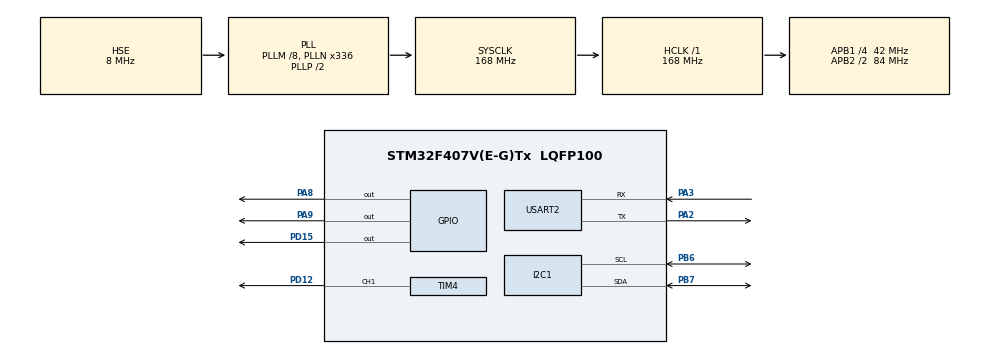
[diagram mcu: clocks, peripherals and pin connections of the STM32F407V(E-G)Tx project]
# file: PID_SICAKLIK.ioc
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Mcu.Family=STM32F4
Mcu.Name=STM32F407V(E-G)Tx
Mcu.Package=LQFP100
NVIC.PriorityGroup=NVIC_PRIORITYGROUP_0
NVIC.TIM2_IRQn=true\:0\:0\:false\:false\:true\:true\:true\:true
NVIC.USART2_IRQn=true\:0\:0\:false\:false\:true\:true\:true\:true
PA2.Mode=Asynchronous
PA2.Signal=USART2_TX
PA3.Mode=Asynchronous
PA3.Signal=USART2_RX
PA8.Signal=GPIO_Output
PA9.Signal=GPIO_Output
PB6.Mode=I2C
PB6.Signal=I2C1_SCL
PB7.Mode=I2C
PB7.Signal=I2C1_SDA
PD12.Signal=S_TIM4_CH1
PD15.Signal=GPIO_Output
PH0-OSC_IN.Mode=HSE-External-Oscillator
PH0-OSC_IN.Signal=RCC_OSC_IN
PH1-OSC_OUT.Mode=HSE-External-Oscillator
PH1-OSC_OUT.Signal=RCC_OSC_OUT
ProjectManager.HeapSize=0x200
ProjectManager.StackSize=0x400
ProjectManager.TargetToolchain=STM32CubeIDE
RCC.48MHZClocksFreq_Value=48000000
RCC.AHBFreq_Value=168000000
RCC.APB1CLKDivider=RCC_HCLK_DIV4
RCC.APB1Freq_Value=42000000
RCC.APB1TimFreq_Value=84000000
RCC.APB2CLKDivider=RCC_HCLK_DIV2
RCC.APB2Freq_Value=84000000
RCC.APB2TimFreq_Value=168000000
RCC.CortexFreq_Value=168000000
RCC.HCLKFreq_Value=168000000
RCC.HSE_VALUE=8000000
RCC.HSI_VALUE=16000000
RCC.PLLM=8
RCC.PLLN=336
RCC.PLLQ=7
RCC.PLLSourceVirtual=RCC_PLLSOURCE_HSE
RCC.SYSCLKFreq_VALUE=168000000
RCC.SYSCLKSource=RCC_SYSCLKSOURCE_PLLCLK
RCC.VCOOutputFreq_Value=336000000
SH.S_TIM4_CH1.0=TIM4_CH1,PWM Generation1 CH1
TIM2.Period=3999
TIM2.Prescaler=41999
TIM4.Channel-PWM\ Generation1\ CH1=TIM_CHANNEL_1
TIM4.Period=999
TIM4.Prescaler=83
USART2.VirtualMode=VM_ASYNC
VP_TIM2_VS_ClockSourceINT.Mode=Internal
VP_TIM4_VS_ClockSourceINT.Mode=Internal
board=STM32F407G-DISC1

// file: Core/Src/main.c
/* USER CODE BEGIN Header */
/**
  ******************************************************************************
  * @file           : main.c
  * @brief          : Main program body
  ******************************************************************************
  * @attention
  *
  * Copyright (c) 2024 STMicroelectronics.
  * All rights reserved.
  *
  * This software is licensed under terms that can be found in the LICENSE file
  * in the root directory of this software component.
  * If no LICENSE file comes with this software, it is provided AS-IS.
  *
  ******************************************************************************
  */
/* USER CODE END Header */
#include "main.h"

/* USER CODE BEGIN Includes */
#include "motor_driver.h"

/* USER CODE END Includes */

/* USER CODE BEGIN PD */
#define KP 10
#define KI 1
#define KD 1
#define TS 0.01

/* USER CODE END PD */

I2C_HandleTypeDef hi2c1;

TIM_HandleTypeDef htim2;
TIM_HandleTypeDef htim4;

UART_HandleTypeDef huart2;

/* USER CODE BEGIN PV */
motor_driver_t driver;
char dizi[BUFFERSIZE];
uint8_t u2rx=0;

/* USER CODE END PV */

void SystemClock_Config(void);
static void MX_GPIO_Init(void);
static void MX_I2C1_Init(void);
static void MX_TIM2_Init(void);
static void MX_TIM4_Init(void);
static void MX_USART2_UART_Init(void);

int main(void)
{

  /* MCU Configuration--------------------------------------------------------*/

  /* Reset of all peripherals, Initializes the Flash interface and the Systick. */
  HAL_Init();

  /* Configure the system clock */
  SystemClock_Config();

  /* Initialize all configured peripherals */
  MX_GPIO_Init();
  MX_I2C1_Init();
  MX_TIM2_Init();
  MX_TIM4_Init();
  MX_USART2_UART_Init();
  /* USER CODE BEGIN 2 */
  lcd_init();
  comInit(&driver.com);
  pidInit(&driver.pid, KP, KI, KD, TS, 100, 0, 100, 0, 100, 0, 100, 0,15);
  HAL_UART_Receive_IT(&huart2, &u2rx, 1);

  BMP180_Start(&driver.bmp_180_cal);
  HAL_GPIO_WritePin(GPIOA, GPIO_PIN_8, 0);
  HAL_GPIO_WritePin(GPIOA, GPIO_PIN_9, 1);

  HAL_TIM_PWM_Start(&htim4, TIM_CHANNEL_1);
  HAL_TIM_Base_Start_IT(&htim2);

  /* USER CODE END 2 */

  /* Infinite loop */
  while (1)
  {

    /* USER CODE BEGIN 3 */
	  read_BMP180(&driver.bmp_180_cal, &driver.bmp_180, 0);
  }
  /* USER CODE END 3 */
}

void SystemClock_Config(void)
{
  RCC_OscInitTypeDef RCC_OscInitStruct = {0};
  RCC_ClkInitTypeDef RCC_ClkInitStruct = {0};

  /** Configure the main internal regulator output voltage
  */
  __HAL_RCC_PWR_CLK_ENABLE();
  __HAL_PWR_VOLTAGESCALING_CONFIG(PWR_REGULATOR_VOLTAGE_SCALE1);

  /** Initializes the RCC Oscillators according to the specified parameters
  * in the RCC_OscInitTypeDef structure.
  */
  RCC_OscInitStruct.OscillatorType = RCC_OSCILLATORTYPE_HSE;
  RCC_OscInitStruct.HSEState = RCC_HSE_ON;
  RCC_OscInitStruct.PLL.PLLState = RCC_PLL_ON;
  RCC_OscInitStruct.PLL.PLLSource = RCC_PLLSOURCE_HSE;
  RCC_OscInitStruct.PLL.PLLM = 8;
  RCC_OscInitStruct.PLL.PLLN = 336;
  RCC_OscInitStruct.PLL.PLLP = RCC_PLLP_DIV2;
  RCC_OscInitStruct.PLL.PLLQ = 7;
  if (HAL_RCC_OscConfig(&RCC_OscInitStruct) != HAL_OK)
  {
    Error_Handler();
  }

  /** Initializes the CPU, AHB and APB buses clocks
  */
  RCC_ClkInitStruct.ClockType = RCC_CLOCKTYPE_HCLK|RCC_CLOCKTYPE_SYSCLK
                              |RCC_CLOCKTYPE_PCLK1|RCC_CLOCKTYPE_PCLK2;
  RCC_ClkInitStruct.SYSCLKSource = RCC_SYSCLKSOURCE_PLLCLK;
  RCC_ClkInitStruct.AHBCLKDivider = RCC_SYSCLK_DIV1;
  RCC_ClkInitStruct.APB1CLKDivider = RCC_HCLK_DIV4;
  RCC_ClkInitStruct.APB2CLKDivider = RCC_HCLK_DIV2;

  if (HAL_RCC_ClockConfig(&RCC_ClkInitStruct, FLASH_LATENCY_5) != HAL_OK)
  {
    Error_Handler();
  }
}

static void MX_I2C1_Init(void)
{

  hi2c1.Instance = I2C1;
  hi2c1.Init.ClockSpeed = 100000;
  hi2c1.Init.DutyCycle = I2C_DUTYCYCLE_2;
  hi2c1.Init.OwnAddress1 = 0;
  hi2c1.Init.AddressingMode = I2C_ADDRESSINGMODE_7BIT;
  hi2c1.Init.DualAddressMode = I2C_DUALADDRESS_DISABLE;
  hi2c1.Init.OwnAddress2 = 0;
  hi2c1.Init.GeneralCallMode = I2C_GENERALCALL_DISABLE;
  hi2c1.Init.NoStretchMode = I2C_NOSTRETCH_DISABLE;
  if (HAL_I2C_Init(&hi2c1) != HAL_OK)
  {
    Error_Handler();
  }

}

static void MX_TIM2_Init(void)
{

  TIM_ClockConfigTypeDef sClockSourceConfig = {0};
  TIM_MasterConfigTypeDef sMasterConfig = {0};

  htim2.Instance = TIM2;
  htim2.Init.Prescaler = 41999;
  htim2.Init.CounterMode = TIM_COUNTERMODE_UP;
  htim2.Init.Period = 3999;
  htim2.Init.ClockDivision = TIM_CLOCKDIVISION_DIV1;
  htim2.Init.AutoReloadPreload = TIM_AUTORELOAD_PRELOAD_DISABLE;
  if (HAL_TIM_Base_Init(&htim2) != HAL_OK)
  {
    Error_Handler();
  }
  sClockSourceConfig.ClockSource = TIM_CLOCKSOURCE_INTERNAL;
  if (HAL_TIM_ConfigClockSource(&htim2, &sClockSourceConfig) != HAL_OK)
  {
    Error_Handler();
  }
  sMasterConfig.MasterOutputTrigger = TIM_TRGO_RESET;
  sMasterConfig.MasterSlaveMode = TIM_MASTERSLAVEMODE_DISABLE;
  if (HAL_TIMEx_MasterConfigSynchronization(&htim2, &sMasterConfig) != HAL_OK)
  {
    Error_Handler();
  }

}

static void MX_TIM4_Init(void)
{

  TIM_ClockConfigTypeDef sClockSourceConfig = {0};
  TIM_MasterConfigTypeDef sMasterConfig = {0};
  TIM_OC_InitTypeDef sConfigOC = {0};

  htim4.Instance = TIM4;
  htim4.Init.Prescaler = 83;
  htim4.Init.CounterMode = TIM_COUNTERMODE_UP;
  htim4.Init.Period = 999;
  htim4.Init.ClockDivision = TIM_CLOCKDIVISION_DIV1;
  htim4.Init.AutoReloadPreload = TIM_AUTORELOAD_PRELOAD_DISABLE;
  if (HAL_TIM_Base_Init(&htim4) != HAL_OK)
  {
    Error_Handler();
  }
  sClockSourceConfig.ClockSource = TIM_CLOCKSOURCE_INTERNAL;
  if (HAL_TIM_ConfigClockSource(&htim4, &sClockSourceConfig) != HAL_OK)
  {
    Error_Handler();
  }
  if (HAL_TIM_PWM_Init(&htim4) != HAL_OK)
  {
    Error_Handler();
  }
  sMasterConfig.MasterOutputTrigger = TIM_TRGO_RESET;
  sMasterConfig.MasterSlaveMode = TIM_MASTERSLAVEMODE_DISABLE;
  if (HAL_TIMEx_MasterConfigSynchronization(&htim4, &sMasterConfig) != HAL_OK)
  {
    Error_Handler();
  }
  sConfigOC.OCMode = TIM_OCMODE_PWM1;
  sConfigOC.Pulse = 0;
  sConfigOC.OCPolarity = TIM_OCPOLARITY_HIGH;
  sConfigOC.OCFastMode = TIM_OCFAST_DISABLE;
  if (HAL_TIM_PWM_ConfigChannel(&htim4, &sConfigOC, TIM_CHANNEL_1) != HAL_OK)
  {
    Error_Handler();
  }
  HAL_TIM_MspPostInit(&htim4);

}

static void MX_USART2_UART_Init(void)
{

  huart2.Instance = USART2;
  huart2.Init.BaudRate = 115200;
  huart2.Init.WordLength = UART_WORDLENGTH_8B;
  huart2.Init.StopBits = UART_STOPBITS_1;
  huart2.Init.Parity = UART_PARITY_NONE;
  huart2.Init.Mode = UART_MODE_TX_RX;
  huart2.Init.HwFlowCtl = UART_HWCONTROL_NONE;
  huart2.Init.OverSampling = UART_OVERSAMPLING_16;
  if (HAL_UART_Init(&huart2) != HAL_OK)
  {
    Error_Handler();
  }

}

static void MX_GPIO_Init(void)
{
  GPIO_InitTypeDef GPIO_InitStruct = {0};

  /* GPIO Ports Clock Enable */
  __HAL_RCC_GPIOH_CLK_ENABLE();
  __HAL_RCC_GPIOA_CLK_ENABLE();
  __HAL_RCC_GPIOD_CLK_ENABLE();
  __HAL_RCC_GPIOB_CLK_ENABLE();

  /*Configure GPIO pin Output Level */
  HAL_GPIO_WritePin(GPIOD, GPIO_PIN_15, GPIO_PIN_RESET);

  /*Configure GPIO pin Output Level */
  HAL_GPIO_WritePin(GPIOA, GPIO_PIN_8|GPIO_PIN_9, GPIO_PIN_RESET);

  /*Configure GPIO pin : PD15 */
  GPIO_InitStruct.Pin = GPIO_PIN_15;
  GPIO_InitStruct.Mode = GPIO_MODE_OUTPUT_PP;
  GPIO_InitStruct.Pull = GPIO_NOPULL;
  GPIO_InitStruct.Speed = GPIO_SPEED_FREQ_LOW;
  HAL_GPIO_Init(GPIOD, &GPIO_InitStruct);

  /*Configure GPIO pins : PA8 PA9 */
  GPIO_InitStruct.Pin = GPIO_PIN_8|GPIO_PIN_9;
  GPIO_InitStruct.Mode = GPIO_MODE_OUTPUT_PP;
  GPIO_InitStruct.Pull = GPIO_NOPULL;
  GPIO_InitStruct.Speed = GPIO_SPEED_FREQ_LOW;
  HAL_GPIO_Init(GPIOA, &GPIO_InitStruct);

}

/* USER CODE BEGIN 4 */
void HAL_TIM_PeriodElapsedCallback(TIM_HandleTypeDef *htim)
{

	lcd_clear();
	pidControl(&driver.pid, ( driver.bmp_180.temperature -  driver.pid.temperature));
	powerDriver(&driver , pidGetOutput(&driver.pid));
	sprintf(dizi,"          Temp: %f ",driver.bmp_180.temperature);
	lcd_send_string(dizi);
	lcd_put_cur(1, 0);
	sprintf(dizi , "Motor hizi: %.2f",driver.pid.output);
	lcd_send_string(dizi);
}

void HAL_UART_RxCpltCallback(UART_HandleTypeDef *huart){
	if(huart->Instance==USART2)
	{
		if(!comIsRxBufferReady(&driver.com))
		{
			comGetData(&driver.com, u2rx);
			HAL_UART_Receive_IT(&huart2, &u2rx, 1);
		}
		else
		{
			appLevelComProcessor(&driver);
		}
	}

}

/* USER CODE END 4 */

void Error_Handler(void)
{
  __disable_irq();
  while (1)
  {
  }
}
